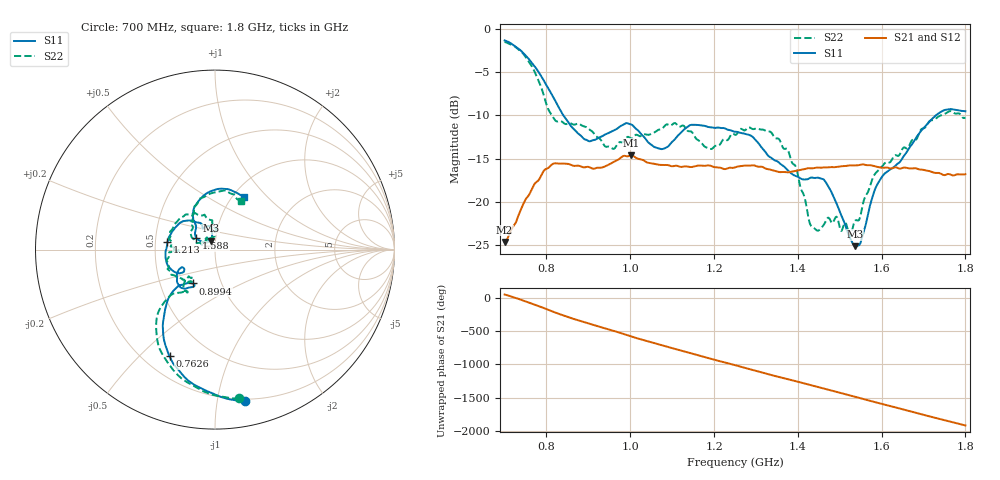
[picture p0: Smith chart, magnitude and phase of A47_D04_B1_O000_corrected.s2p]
! Created with skrf 1.9.0 (http://scikit-rf.org).
# Hz S RI R 50.0
!freq ReS11 ImS11 ReS21 ImS21 ReS12 ImS12 ReS22 ImS22
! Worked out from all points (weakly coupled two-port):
!   1601 points, 700 MHz to 1.8 GHz, reference 50 ohm
!   highest |S21| = -14.63 dB at 1.002 GHz (marker M1); lowest = -24.6 dB at 700 MHz (marker M2)
!   lowest |S11| = -25.1 dB at 1.537 GHz (marker M3), VSWR 1.12, Z = 47.4 + j4.74 ohm
!   |S11| at or under -10 dB: 840.4 MHz to 1.729 GHz (889 MHz wide, 69.2 % of centre)
!   |S22| runs from -24.0 to -1.5 dB; largest |S21 - S12| = 0.0034
!   S11 on the Smith chart (normalised r, x): 700 MHz: 0.19, -1.20; 762.6 MHz: 0.30, -0.62; 899.4 MHz: 0.73, -0.29; 1.213 GHz: 0.58, +0.05; 1.588 GHz: 0.80, +0.11; 1.8 GHz: 1.13, +0.74
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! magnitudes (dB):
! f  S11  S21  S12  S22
! 700 MHz  -1.3  -24.6  -24.4  -1.5
! 762.6 MHz  -3.8  -18.8  -18.7  -4.1
! 818.9 MHz  -8.1  -15.5  -15.6  -10.5
! 883.6 MHz  -12.4  -15.9  -15.8  -11.1
! 899.4 MHz  -12.9  -15.9  -16.0  -11.5
! 957.8 MHz  -11.8  -15.4  -15.4  -13.8
! 1.002 GHz  -11.1  -14.6  -14.7  -12.7
! 1.067 GHz  -13.8  -15.7  -15.6  -11.7
! 1.144 GHz  -11.1  -16.0  -16.0  -11.8
! 1.213 GHz  -11.4  -16.0  -16.0  -13.4
! 1.25 GHz  -11.9  -16.0  -15.9  -12.2
! 1.355 GHz  -15.5  -16.5  -16.5  -12.7
! 1.395 GHz  -17.0  -16.4  -16.4  -15.9
! 1.434 GHz  -17.2  -16.1  -16.1  -22.9
! 1.469 GHz  -17.9  -16.0  -16.0  -22.0
! 1.524 GHz  -24.2  -15.8  -15.8  -24.0
! 1.537 GHz  -25.1  -15.8  -15.8  -22.2
! 1.551 GHz  -24.5  -15.7  -15.7  -21.2
! 1.588 GHz  -18.2  -15.9  -15.9  -16.6
! 1.617 GHz  -16.4  -16.1  -16.0  -15.4
! 1.732 GHz  -9.9  -16.6  -16.7  -10.3
! 1.8 GHz  -9.5  -16.8  -16.8  -10.2
